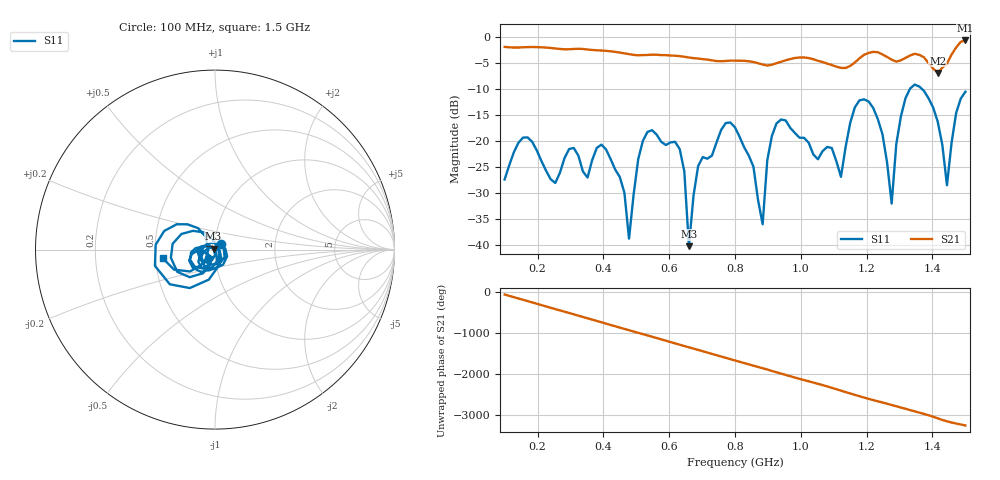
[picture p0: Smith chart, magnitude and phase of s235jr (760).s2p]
! NanoVNA-App
! Date: 2025-09-25 15:10:05
! Start: 100MHz Stop: 1,5GHz Points: 101
! S-Parameter data: F S11 S21 S12 S22
# Hz S RI R 50
!  Frequency  S11_Real  S11_Imag  S21_Real  S21_Imag  S12_Real  S12_Imag  S22_Real  S22_Imag
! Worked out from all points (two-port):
!   101 points, 100 MHz to 1.5 GHz, reference 50 ohm
!   highest |S21| = -0.72 dB at 1.5 GHz (marker M1); lowest = -7.0 dB at 1.416 GHz (marker M2)
!   |S21| within 3 dB of the highest: start of sweep to 628.9 MHz; 1.187 GHz to 1.257 GHz (70 MHz wide, 5.73 % of centre) (the widest 2 of 4)
!   lowest |S11| = -40.3 dB at 660 MHz (marker M3), VSWR 1.02, Z = 49.2 + j0.551 ohm
!   |S11| at or under -10 dB: start of sweep to 1.332 GHz; 1.367 GHz to end of sweep
!   S12 and S22 are empty: the file has one direction only
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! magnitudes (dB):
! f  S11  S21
! 100 MHz  -27.5  -2.0
! 156 MHz  -19.4  -2.0
! 338 MHz  -25.9  -2.4
! 408 MHz  -21.7  -2.7
! 478 MHz  -38.9  -3.4
! 520 MHz  -20.0  -3.5
! 576 MHz  -20.2  -3.5
! 632 MHz  -21.6  -3.7
! 660 MHz  -40.3  -4.0
! 688 MHz  -24.9  -4.2
! 800 MHz  -17.5  -4.6
! 884 MHz  -36.1  -5.3
! 926 MHz  -16.7  -5.1
! 1.038 GHz  -22.7  -4.3
! 1.122 GHz  -27.0  -6.0
! 1.164 GHz  -13.6  -5.0
! 1.206 GHz  -12.5  -3.1
! 1.276 GHz  -32.1  -4.4
! 1.332 GHz  -10.0  -3.6
! 1.416 GHz  -16.4  -7.0
! 1.444 GHz  -28.6  -5.2
! 1.5 GHz  -10.6  -0.7
